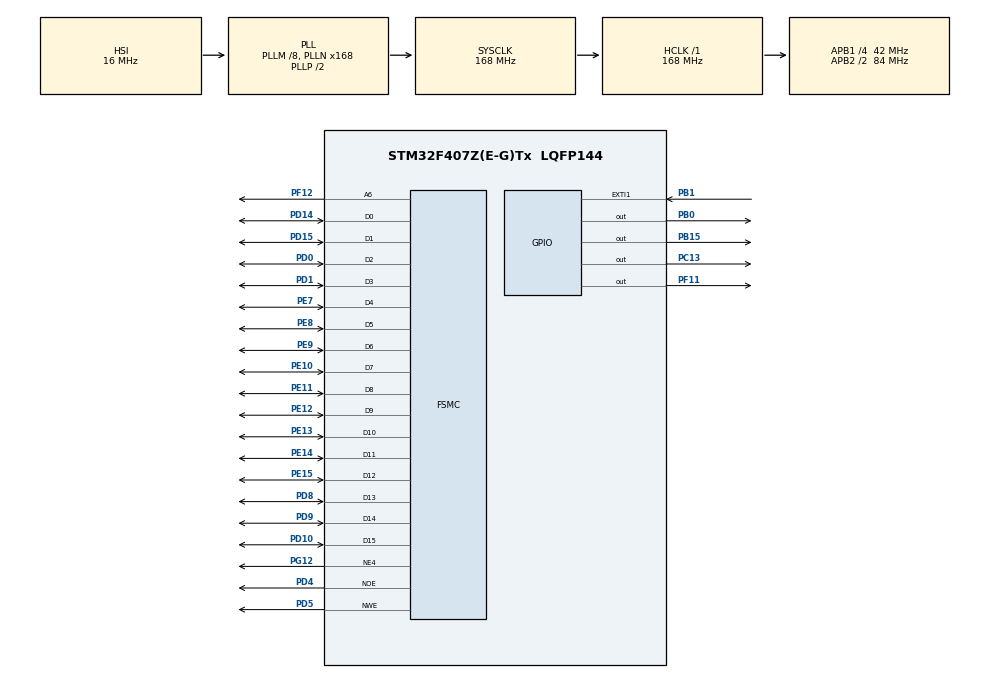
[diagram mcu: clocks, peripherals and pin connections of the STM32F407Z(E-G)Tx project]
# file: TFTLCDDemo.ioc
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FSMC.BusTurnAroundDuration1=0
FSMC.DataSetupTime1=60
FSMC.ExtendedAddressSetupTime1=9
FSMC.ExtendedBusTurnAroundDuration1=0
FSMC.ExtendedDataSetupTime1=8
FSMC.ExtendedMode1=FSMC_EXTENDED_MODE_ENABLE
FSMC.WriteOperation1=FSMC_WRITE_OPERATION_ENABLE
Mcu.Family=STM32F4
Mcu.Name=STM32F407Z(E-G)Tx
Mcu.Package=LQFP144
NVIC.EXTI1_IRQn=true\:3\:0\:true\:false\:true\:true\:true
NVIC.PriorityGroup=NVIC_PRIORITYGROUP_4
PB0.GPIO_PuPd=GPIO_PULLUP
PB0.GPIO_Speed=GPIO_SPEED_FREQ_HIGH
PB0.Signal=GPIO_Output
PB1.GPIO_ModeDefaultEXTI=GPIO_MODE_IT_FALLING
PB1.GPIO_PuPd=GPIO_PULLUP
PB1.Signal=GPXTI1
PB15.GPIO_PuPd=GPIO_PULLUP
PB15.GPIO_Speed=GPIO_SPEED_FREQ_HIGH
PB15.PinState=GPIO_PIN_RESET
PB15.Signal=GPIO_Output
PC13-ANTI_TAMP.PinState=GPIO_PIN_RESET
PC13-ANTI_TAMP.Signal=GPIO_Output
PD0.Signal=FSMC_D2_DA2
PD1.Signal=FSMC_D3_DA3
PD10.Signal=FSMC_D15_DA15
PD14.Signal=FSMC_D0_DA0
PD15.Signal=FSMC_D1_DA1
PD4.Signal=FSMC_NOE
PD5.Signal=FSMC_NWE
PD8.Signal=FSMC_D13_DA13
PD9.Signal=FSMC_D14_DA14
PE10.Signal=FSMC_D7_DA7
PE11.Signal=FSMC_D8_DA8
PE12.Signal=FSMC_D9_DA9
PE13.Signal=FSMC_D10_DA10
PE14.Signal=FSMC_D11_DA11
PE15.Signal=FSMC_D12_DA12
PE7.Signal=FSMC_D4_DA4
PE8.Signal=FSMC_D5_DA5
PE9.Signal=FSMC_D6_DA6
PF11.GPIO_PuPd=GPIO_PULLUP
PF11.GPIO_Speed=GPIO_SPEED_FREQ_HIGH
PF11.PinState=GPIO_PIN_RESET
PF11.Signal=GPIO_Output
PF12.Signal=FSMC_A6
PG12.Mode=NorPsramChipSelect4_1
PG12.Signal=FSMC_NE4
ProjectManager.HeapSize=0x200
ProjectManager.StackSize=0x400
ProjectManager.TargetToolchain=MDK-ARM V5
RCC.48MHZClocksFreq_Value=84000000
RCC.AHBFreq_Value=168000000
RCC.APB1CLKDivider=RCC_HCLK_DIV4
RCC.APB1Freq_Value=42000000
RCC.APB1TimFreq_Value=84000000
RCC.APB2CLKDivider=RCC_HCLK_DIV2
RCC.APB2Freq_Value=84000000
RCC.APB2TimFreq_Value=168000000
RCC.CortexFreq_Value=168000000
RCC.HCLKFreq_Value=168000000
RCC.HSE_VALUE=25000000
RCC.HSI_VALUE=16000000
RCC.LSE_VALUE=32768
RCC.PLLM=8
RCC.PLLN=168
RCC.SYSCLKFreq_VALUE=168000000
RCC.SYSCLKSource=RCC_SYSCLKSOURCE_PLLCLK
RCC.VCOOutputFreq_Value=336000000
SH.FSMC_A6.0=FSMC_A6,A6_1
SH.FSMC_D0_DA0.0=FSMC_D0,16b-d1
SH.FSMC_D10_DA10.0=FSMC_D10,16b-d1
SH.FSMC_D11_DA11.0=FSMC_D11,16b-d1
SH.FSMC_D12_DA12.0=FSMC_D12,16b-d1
SH.FSMC_D13_DA13.0=FSMC_D13,16b-d1
SH.FSMC_D14_DA14.0=FSMC_D14,16b-d1
SH.FSMC_D15_DA15.0=FSMC_D15,16b-d1
SH.FSMC_D1_DA1.0=FSMC_D1,16b-d1
SH.FSMC_D2_DA2.0=FSMC_D2,16b-d1
SH.FSMC_D3_DA3.0=FSMC_D3,16b-d1
SH.FSMC_D4_DA4.0=FSMC_D4,16b-d1
SH.FSMC_D5_DA5.0=FSMC_D5,16b-d1
SH.FSMC_D6_DA6.0=FSMC_D6,16b-d1
SH.FSMC_D7_DA7.0=FSMC_D7,16b-d1
SH.FSMC_D8_DA8.0=FSMC_D8,16b-d1
SH.FSMC_D9_DA9.0=FSMC_D9,16b-d1
SH.FSMC_NOE.0=FSMC_NOE,Lcd1
SH.FSMC_NWE.0=FSMC_NWE,Lcd1
board=custom

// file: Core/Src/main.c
/* USER CODE BEGIN Header */
/**
  ******************************************************************************
  * @file           : main.c
  * @brief          : Main program body
  ******************************************************************************
  * @attention
  *
  * <h2><center>&copy; Copyright (c) 2019 STMicroelectronics.
  * All rights reserved.</center></h2>
  *
  * This software component is licensed by ST under BSD 3-Clause license,
  * the "License"; You may not use this file except in compliance with the
  * License. You may obtain a copy of the License at:
  *                        opensource.org/licenses/BSD-3-Clause
  *
  ******************************************************************************
  */
/* USER CODE END Header */

#include "main.h"
#include "gpio.h"
#include "fsmc.h"

/* USER CODE BEGIN Includes */
#include "lcd.h"
#include "stdlib.h"
#include "stdio.h"
#include "gt811.h"
/* USER CODE END Includes */

/* USER CODE BEGIN PV */
u8 lcd_id[12];
/* USER CODE END PV */

void SystemClock_Config(void);
/* USER CODE BEGIN PFP */
void ctouch_paint_test(void);
/* USER CODE END PFP */

int main(void)
{

  /* MCU Configuration--------------------------------------------------------*/

  /* Reset of all peripherals, Initializes the Flash interface and the Systick. */
  HAL_Init();

  /* Configure the system clock */
  SystemClock_Config();

  /* Initialize all configured peripherals */
  MX_GPIO_Init();
  MX_FSMC_Init();
  /* USER CODE BEGIN 2 */
 	LCD_Init();
	POINT_COLOR=RED;
	sprintf((char*)lcd_id,"LCD ID:%04X",lcddev.id);
  while(1)
	{
		LCD_ShowString(30,40,210,24,24,(u8 *)"STM32F407ZGT");
		LCD_ShowString(30,80,200,24,24,(u8 *)"TFTLCD TEST");
		LCD_ShowString(30,120,200,24,24,(u8 *)"P J Palanas");
 		LCD_ShowString(30,170,200,16,16,lcd_id);
		LCD_ShowString(30,190,200,16,16,(u8 *)"2019/10/13");
		HAL_Delay(1000);
	}
  /* USER CODE END 2 */

  /* Infinite loop */
  /* USER CODE BEGIN WHILE */
 // while (1)
 // {
    /* USER CODE END WHILE */

    /* USER CODE BEGIN 3 */
 // }
  /* USER CODE END 3 */
}

void SystemClock_Config(void)
{
  RCC_OscInitTypeDef RCC_OscInitStruct = {0};
  RCC_ClkInitTypeDef RCC_ClkInitStruct = {0};

  /** Configure the main internal regulator output voltage
  */
  __HAL_RCC_PWR_CLK_ENABLE();
  __HAL_PWR_VOLTAGESCALING_CONFIG(PWR_REGULATOR_VOLTAGE_SCALE1);
  /** Initializes the CPU, AHB and APB busses clocks
  */
  RCC_OscInitStruct.OscillatorType = RCC_OSCILLATORTYPE_HSI;
  RCC_OscInitStruct.HSIState = RCC_HSI_ON;
  RCC_OscInitStruct.HSICalibrationValue = RCC_HSICALIBRATION_DEFAULT;
  RCC_OscInitStruct.PLL.PLLState = RCC_PLL_ON;
  RCC_OscInitStruct.PLL.PLLSource = RCC_PLLSOURCE_HSI;
  RCC_OscInitStruct.PLL.PLLM = 8;
  RCC_OscInitStruct.PLL.PLLN = 168;
  RCC_OscInitStruct.PLL.PLLP = RCC_PLLP_DIV2;
  RCC_OscInitStruct.PLL.PLLQ = 4;
  if (HAL_RCC_OscConfig(&RCC_OscInitStruct) != HAL_OK)
  {
    Error_Handler();
  }
  /** Initializes the CPU, AHB and APB busses clocks
  */
  RCC_ClkInitStruct.ClockType = RCC_CLOCKTYPE_HCLK|RCC_CLOCKTYPE_SYSCLK
                              |RCC_CLOCKTYPE_PCLK1|RCC_CLOCKTYPE_PCLK2;
  RCC_ClkInitStruct.SYSCLKSource = RCC_SYSCLKSOURCE_PLLCLK;
  RCC_ClkInitStruct.AHBCLKDivider = RCC_SYSCLK_DIV1;
  RCC_ClkInitStruct.APB1CLKDivider = RCC_HCLK_DIV4;
  RCC_ClkInitStruct.APB2CLKDivider = RCC_HCLK_DIV2;

  if (HAL_RCC_ClockConfig(&RCC_ClkInitStruct, FLASH_LATENCY_5) != HAL_OK)
  {
    Error_Handler();
  }
}

/* USER CODE BEGIN 4 */
void delay_ms(int time)
{
	HAL_Delay(time);
}

void delay_us(__IO uint32_t nTime)
{
		int old_val,new_val,val;
    if(nTime > 900)
    {
        for(old_val = 0; old_val < nTime/900; old_val++)
        {
            delay_us(900);
        }
        nTime = nTime%900;
    }
    old_val = SysTick->VAL;
    new_val = old_val - CPU_FREQUENCY_MHZ*nTime;
    if(new_val >= 0)
    {
        do
        {
            val = SysTick->VAL;
        }
        while((val < old_val)&&(val >= new_val));
    }
    else
    {
        new_val +=CPU_FREQUENCY_MHZ*1000;
        do
        {
            val = SysTick->VAL;
        }
        while((val <= old_val)||(val > new_val));
		}
}

/* USER CODE END 4 */

void Error_Handler(void)
{
}

/************************ (C) COPYRIGHT STMicroelectronics *****END OF FILE****/
